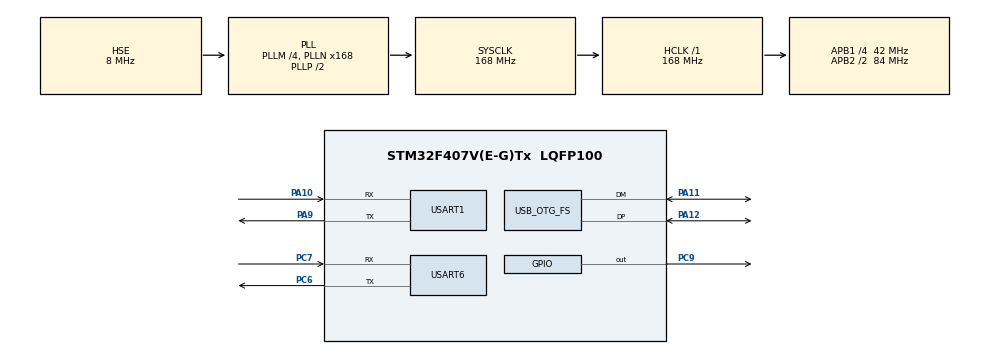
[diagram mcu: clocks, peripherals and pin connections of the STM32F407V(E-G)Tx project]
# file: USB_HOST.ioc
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FATFS._CODE_PAGE=936
FATFS._USE_LFN=2
Mcu.Family=STM32F4
Mcu.Name=STM32F407V(E-G)Tx
Mcu.Package=LQFP100
NVIC.OTG_FS_IRQn=true\:1\:0\:true\:false\:true\:false\:true\:true
NVIC.PriorityGroup=NVIC_PRIORITYGROUP_4
NVIC.USART1_IRQn=true\:0\:0\:false\:false\:true\:true\:true\:true
PA10.Mode=Asynchronous
PA10.Signal=USART1_RX
PA11.Mode=Host_Only
PA11.Signal=USB_OTG_FS_DM
PA12.Mode=Host_Only
PA12.Signal=USB_OTG_FS_DP
PA13.Mode=Serial_Wire
PA13.Signal=SYS_JTMS-SWDIO
PA14.Mode=Serial_Wire
PA14.Signal=SYS_JTCK-SWCLK
PA9.Mode=Asynchronous
PA9.Signal=USART1_TX
PC14-OSC32_IN.Mode=LSE-External-Oscillator
PC14-OSC32_IN.Signal=RCC_OSC32_IN
PC15-OSC32_OUT.Mode=LSE-External-Oscillator
PC15-OSC32_OUT.Signal=RCC_OSC32_OUT
PC6.Mode=Asynchronous
PC6.Signal=USART6_TX
PC7.Mode=Asynchronous
PC7.Signal=USART6_RX
PC9.Signal=GPIO_Output
PH0-OSC_IN.Mode=HSE-External-Oscillator
PH0-OSC_IN.Signal=RCC_OSC_IN
PH1-OSC_OUT.Mode=HSE-External-Oscillator
PH1-OSC_OUT.Signal=RCC_OSC_OUT
ProjectManager.HeapSize=0x1000
ProjectManager.StackSize=0x1000
ProjectManager.TargetToolchain=MDK-ARM V5.27
RCC.48MHZClocksFreq_Value=48000000
RCC.AHBFreq_Value=168000000
RCC.APB1CLKDivider=RCC_HCLK_DIV4
RCC.APB1Freq_Value=42000000
RCC.APB1TimFreq_Value=84000000
RCC.APB2CLKDivider=RCC_HCLK_DIV2
RCC.APB2Freq_Value=84000000
RCC.APB2TimFreq_Value=168000000
RCC.CortexFreq_Value=168000000
RCC.HCLKFreq_Value=168000000
RCC.HSE_VALUE=8000000
RCC.HSI_VALUE=16000000
RCC.PLLM=4
RCC.PLLN=168
RCC.PLLQ=7
RCC.SYSCLKFreq_VALUE=168000000
RCC.SYSCLKSource=RCC_SYSCLKSOURCE_PLLCLK
RCC.VCOOutputFreq_Value=336000000
USART1.VirtualMode=VM_ASYNC
USART6.VirtualMode=VM_ASYNC
USB_HOST.BSP.number=1
USB_HOST.USBH_HandleTypeDef-MSC_FS=hUsbHostFS
USB_HOST.VirtualModeFS=Msc
USB_HOST0.BSP.STBoard=false
USB_HOST0.BSP.api=Unknown
USB_HOST0.BSP.instance=PC9
USB_HOST0.BSP.ip=GPIO
USB_HOST0.BSP.mode=Output
USB_HOST0.BSP.name=Drive_VBUS_FS
USB_HOST0.BSP.solution=PC9
USB_OTG_FS.VirtualMode=Host_Only
USB_OTG_FS.phy_itface=HCD_PHY_EMBEDDED
VP_FATFS_VS_USB.Mode=USB
VP_USB_HOST_VS_USB_HOST_MSC_FS.Mode=MSC_FS
board=custom

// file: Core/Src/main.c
/* USER CODE BEGIN Header */
/**
  ******************************************************************************
  * @file           : main.c
  * @brief          : Main program body
  ******************************************************************************
  * @attention
  *
  * Copyright (c) 2024 STMicroelectronics.
  * All rights reserved.
  *
  * This software is licensed under terms that can be found in the LICENSE file
  * in the root directory of this software component.
  * If no LICENSE file comes with this software, it is provided AS-IS.
  *
  ******************************************************************************
  */
/* USER CODE END Header */
#include "main.h"
#include "fatfs.h"
#include "usart.h"
#include "usb_host.h"
#include "gpio.h"

/* USER CODE BEGIN Includes */
#include "menu.h"
/* USER CODE END Includes */

void SystemClock_Config(void);
void MX_USB_HOST_Process(void);

/* USER CODE BEGIN 0 */

extern ApplicationTypeDef Appli_state;
extern USBH_HandleTypeDef hUsbHostFS;
extern char USBHPath[4]; // USBH logical drive path

FATFS FatfsUDisk; // File system object for USB disk logical drive
FIL myFile; // File object
 //U盘应用函数
//static void MSC_Application(void)
//{
//    FRESULT fres; // FatFs function common result code
//    uint32_t byteswrite;
//	uint32_t bytesread;
//    uint8_t str[] = "hello world!";
//	uint8_t datebuff[1024];
//    /* Register the file system object to the FatFs module */
//    if( f_mount(&FatfsUDisk, (TCHAR const*)USBHPath, 0) != FR_OK)
//    {
//        Error_Handler(); //FatFs Initialization Error
//    }
//    else
//    {
//		 if(f_open(&myFile, "APP.bin",  FA_READ) != FR_OK)
//        {
//            Error_Handler(); //'STM32.TXT' file Open for write Error
//        }
//		  else
//		{
//			fres = f_read(&myFile, datebuff, 1024, (void *)&bytesread);
//			for(int i=0;i<1023;i++)
//			printf("0x%02X ",datebuff[i]);
//		}
//
//        /* Create and Open a new text file object with write access */
////        if(f_open(&myFile, "test.txt", FA_CREATE_ALWAYS | FA_WRITE) != FR_OK)
////        {
////            Error_Handler(); //'STM32.TXT' file Open for write Error
////        }
////        else
////        {
////            fres = f_write(&myFile, str, sizeof(str), (void *)&byteswrite);
////            if(byteswrite == 0 || (fres != FR_OK))
////            {
////                Error_Handler();
////            }
////            else
////            {
////                f_close(&myFile); //Close the open text file
////            }
////        }
//    }
//}

/* USER CODE END 0 */

int main(void)
{

  /* MCU Configuration--------------------------------------------------------*/

  /* Reset of all peripherals, Initializes the Flash interface and the Systick. */
  HAL_Init();

  /* Configure the system clock */
  SystemClock_Config();

  /* Initialize all configured peripherals */
  MX_GPIO_Init();
  MX_USART1_UART_Init();
  MX_USB_HOST_Init();
  MX_USART6_UART_Init();
  MX_FATFS_Init();
  /* USER CODE BEGIN 2 */
 printf("bootloader！\r\n");

  /* USER CODE END 2 */

  /* Infinite loop */
  while (1)
  {
    MX_USB_HOST_Process();

    /* USER CODE BEGIN 3 */
   switch(Appli_state)
    {
        case APPLICATION_READY:
            Main_Menu();
			Appli_state = APPLICATION_DISCONNECT;
            break;
        case APPLICATION_DISCONNECT:
            f_mount(NULL, "", 0);
            break;
        default:
            break;
    }
 }

  /* USER CODE END 3 */
}

void SystemClock_Config(void)
{
  RCC_OscInitTypeDef RCC_OscInitStruct = {0};
  RCC_ClkInitTypeDef RCC_ClkInitStruct = {0};

  /** Configure the main internal regulator output voltage
  */
  __HAL_RCC_PWR_CLK_ENABLE();
  __HAL_PWR_VOLTAGESCALING_CONFIG(PWR_REGULATOR_VOLTAGE_SCALE1);

  /** Initializes the RCC Oscillators according to the specified parameters
  * in the RCC_OscInitTypeDef structure.
  */
  RCC_OscInitStruct.OscillatorType = RCC_OSCILLATORTYPE_HSE;
  RCC_OscInitStruct.HSEState = RCC_HSE_ON;
  RCC_OscInitStruct.PLL.PLLState = RCC_PLL_ON;
  RCC_OscInitStruct.PLL.PLLSource = RCC_PLLSOURCE_HSE;
  RCC_OscInitStruct.PLL.PLLM = 4;
  RCC_OscInitStruct.PLL.PLLN = 168;
  RCC_OscInitStruct.PLL.PLLP = RCC_PLLP_DIV2;
  RCC_OscInitStruct.PLL.PLLQ = 7;
  if (HAL_RCC_OscConfig(&RCC_OscInitStruct) != HAL_OK)
  {
    Error_Handler();
  }

  /** Initializes the CPU, AHB and APB buses clocks
  */
  RCC_ClkInitStruct.ClockType = RCC_CLOCKTYPE_HCLK|RCC_CLOCKTYPE_SYSCLK
                              |RCC_CLOCKTYPE_PCLK1|RCC_CLOCKTYPE_PCLK2;
  RCC_ClkInitStruct.SYSCLKSource = RCC_SYSCLKSOURCE_PLLCLK;
  RCC_ClkInitStruct.AHBCLKDivider = RCC_SYSCLK_DIV1;
  RCC_ClkInitStruct.APB1CLKDivider = RCC_HCLK_DIV4;
  RCC_ClkInitStruct.APB2CLKDivider = RCC_HCLK_DIV2;

  if (HAL_RCC_ClockConfig(&RCC_ClkInitStruct, FLASH_LATENCY_5) != HAL_OK)
  {
    Error_Handler();
  }
}

void Error_Handler(void)
{
  __disable_irq();
  while (1)
  {
  }
}
